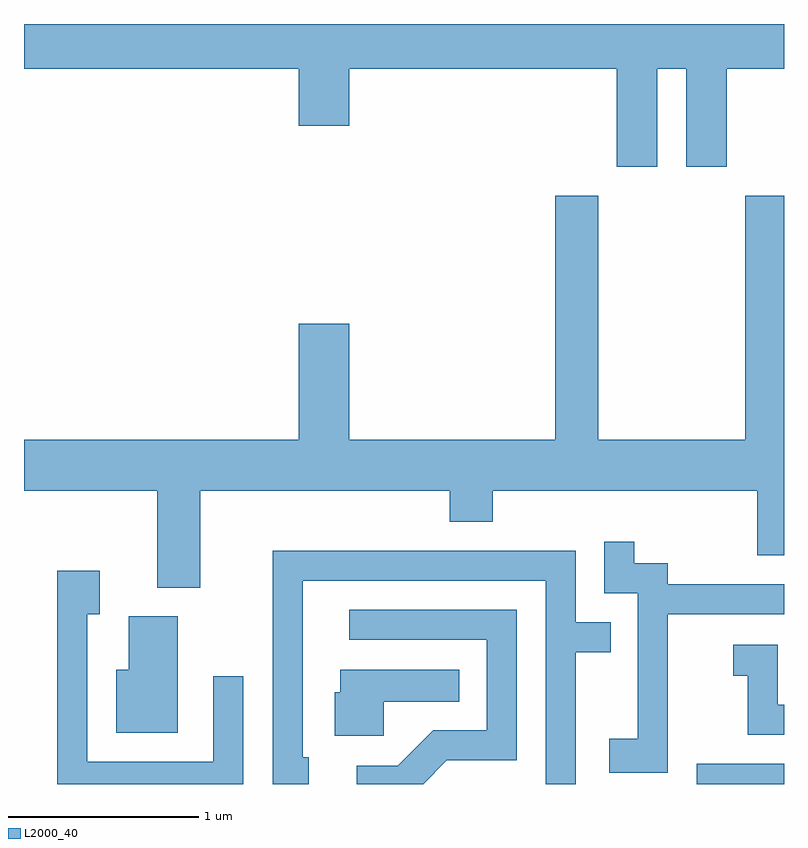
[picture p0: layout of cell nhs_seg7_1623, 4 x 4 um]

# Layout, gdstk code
import gdstk
lib = gdstk.Library(unit=1e-6, precision=1e-09)
def R(c, l, rs):  # rectangles x0, y0, x1, y1
    for r in rs: c.add(gdstk.rectangle(r[:2], r[2:], *l))
def P(c, l, *ps):  # polygons
    for p in ps: c.add(gdstk.Polygon(p, *l))
L2000_40 = (2000, 40)

nhs_seg7_1623 = lib.new_cell('nhs_seg7_1623')
R(nhs_seg7_1623, L2000_40, [(237.151,1788.252,237.611,1788.359)])
P(nhs_seg7_1623, L2000_40, [(236.944,1792.016),(237.096,1792.016),(237.096,1791.501),(237.309,1791.501),(237.309,1792.016),(237.611,1792.016),(237.611,1792.252),(233.611,1792.252),(233.611,1792.016),(235.056,1792.016),(235.056,1791.716),(235.324,1791.716),(235.324,1792.016),(236.731,1792.016),(236.731,1791.501),(236.944,1791.501)],
  [(234.539,1789.796),(235.851,1789.796),(235.851,1789.631),(236.079,1789.631),(236.079,1789.796),(237.471,1789.796),(237.471,1789.456),(237.611,1789.456),(237.611,1791.349),(237.406,1791.349),(237.406,1790.064),(236.634,1790.064),(236.634,1791.349),(236.406,1791.349),(236.406,1790.064),(235.324,1790.064),(235.324,1790.674),(235.056,1790.674),(235.056,1790.064),(233.611,1790.064),(233.611,1789.796),(234.311,1789.796),(234.311,1789.286),(234.539,1789.286)],
  [(236.999,1789.146),(237.611,1789.146),(237.611,1789.304),(236.999,1789.304),(236.999,1789.414),(236.824,1789.414),(236.824,1789.528),(236.666,1789.528),(236.666,1789.256),(236.841,1789.256),(236.841,1788.489),(236.691,1788.489),(236.691,1788.311),(236.999,1788.311)],
  [(235.109,1788.394),(235.079,1788.394),(235.079,1789.321),(236.356,1789.321),(236.356,1788.252),(236.514,1788.252),(236.514,1788.946),(236.698,1788.946),(236.698,1789.104),(236.514,1789.104),(236.514,1789.479),(234.921,1789.479),(234.921,1788.252),(235.109,1788.252)],
  [(234.764,1788.818),(234.606,1788.818),(234.606,1788.369),(233.944,1788.369),(233.944,1789.146),(234.009,1789.146),(234.009,1789.374),(233.786,1789.374),(233.786,1788.252),(234.764,1788.252)],
  [(235.837,1788.376),(236.204,1788.376),(236.204,1789.169),(235.323,1789.169),(235.323,1789.011),(236.046,1789.011),(236.046,1788.534),(235.764,1788.534),(235.579,1788.349),(235.363,1788.349),(235.363,1788.252),(235.713,1788.252)],
  [(234.419,1789.134),(234.161,1789.134),(234.161,1788.854),(234.096,1788.854),(234.096,1788.521),(234.419,1788.521)],
  [(237.611,1788.669),(237.579,1788.669),(237.579,1788.984),(237.343,1788.984),(237.343,1788.821),(237.421,1788.821),(237.421,1788.511),(237.611,1788.511)],
  [(235.504,1788.686),(235.903,1788.686),(235.903,1788.854),(235.276,1788.854),(235.276,1788.734),(235.246,1788.734),(235.246,1788.506),(235.504,1788.506)])

lib.write_gds('nhs_seg7_1623.gds')
